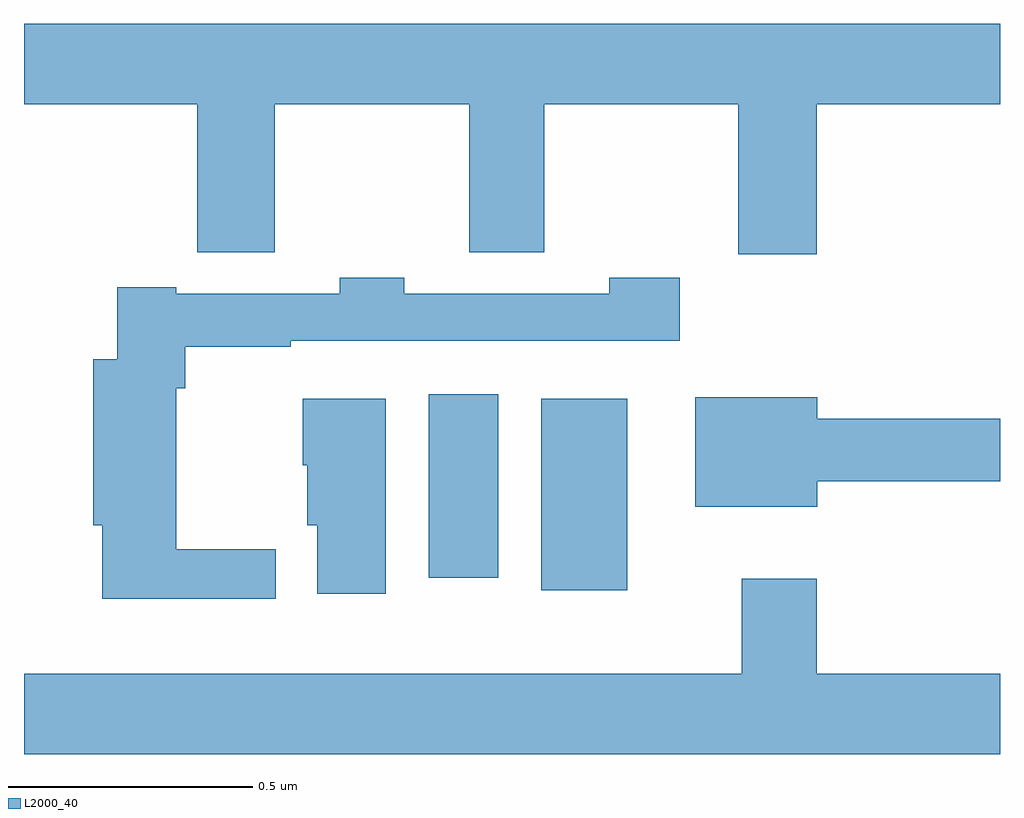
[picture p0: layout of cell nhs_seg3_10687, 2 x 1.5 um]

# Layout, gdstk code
import gdstk
lib = gdstk.Library(unit=1e-6, precision=1e-09)
def R(c, l, rs):  # rectangles x0, y0, x1, y1
    for r in rs: c.add(gdstk.rectangle(r[:2], r[2:], *l))
def P(c, l, *ps):  # polygons
    for p in ps: c.add(gdstk.Polygon(p, *l))
L2000_40 = (2000, 40)

nhs_seg3_10687 = lib.new_cell('nhs_seg3_10687')
R(nhs_seg3_10687, L2000_40, [(245.06,683.936,245.236,684.328), (244.829,683.961,244.972,684.337)])
P(nhs_seg3_10687, L2000_40, [(245.624,684.932),(246,684.932),(246,685.096),(244,685.096),(244,684.932),(244.355,684.932),(244.355,684.628),(244.514,684.628),(244.514,684.932),(244.912,684.932),(244.912,684.628),(245.066,684.628),(245.066,684.932),(245.464,684.932),(245.464,684.624),(245.624,684.624)],
  [(244.516,684.02),(244.312,684.02),(244.312,684.35),(244.33,684.35),(244.33,684.435),(244.547,684.435),(244.547,684.447),(245.344,684.447),(245.344,684.576),(245.199,684.576),(245.199,684.543),(244.779,684.543),(244.779,684.576),(244.647,684.576),(244.647,684.543),(244.312,684.543),(244.312,684.556),(244.191,684.556),(244.191,684.409),(244.142,684.409),(244.142,684.069),(244.16,684.069),(244.16,683.918),(244.516,683.918)],
  [(245.626,684.159),(246,684.159),(246,684.287),(245.626,684.287),(245.626,684.331),(245.375,684.331),(245.375,684.107),(245.626,684.107)],
  [(244.741,684.328),(244.571,684.328),(244.571,684.192),(244.58,684.192),(244.58,684.069),(244.601,684.069),(244.601,683.928),(244.741,683.928)],
  [(246,683.764),(245.624,683.764),(245.624,683.959),(245.471,683.959),(245.471,683.764),(244,683.764),(244,683.6),(246,683.6)])

lib.write_gds('nhs_seg3_10687.gds')
